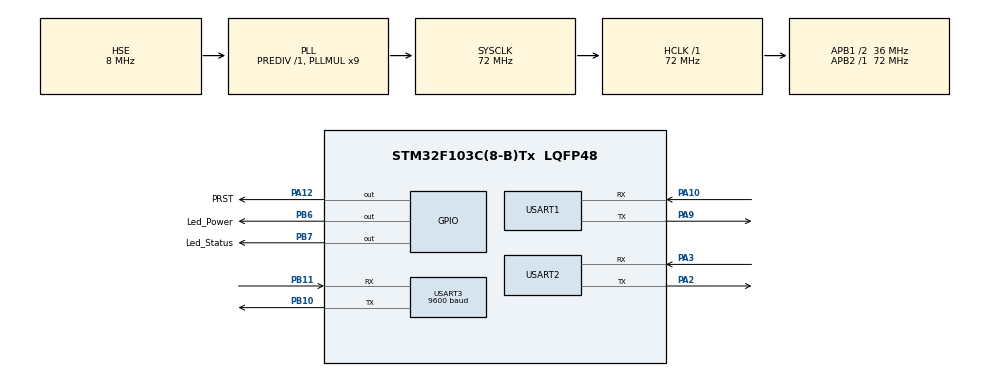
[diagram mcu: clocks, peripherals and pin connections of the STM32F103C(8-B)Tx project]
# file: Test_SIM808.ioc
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Mcu.Family=STM32F1
Mcu.Name=STM32F103C(8-B)Tx
Mcu.Package=LQFP48
NVIC.PriorityGroup=NVIC_PRIORITYGROUP_4
NVIC.USART1_IRQn=true\:0\:0\:false\:false\:true\:true\:true
NVIC.USART2_IRQn=true\:0\:0\:false\:false\:true\:true\:true
NVIC.USART3_IRQn=true\:0\:0\:false\:false\:true\:true\:true
PA10.Mode=Asynchronous
PA10.Signal=USART1_RX
PA12.GPIO_Label=PRST
PA12.Signal=GPIO_Output
PA13.Mode=Serial_Wire
PA13.Signal=SYS_JTMS-SWDIO
PA14.Mode=Serial_Wire
PA14.Signal=SYS_JTCK-SWCLK
PA2.Mode=Asynchronous
PA2.Signal=USART2_TX
PA3.Mode=Asynchronous
PA3.Signal=USART2_RX
PA9.Mode=Asynchronous
PA9.Signal=USART1_TX
PB10.Mode=Asynchronous
PB10.Signal=USART3_TX
PB11.Mode=Asynchronous
PB11.Signal=USART3_RX
PB6.GPIO_Label=Led_Power
PB6.Signal=GPIO_Output
PB7.GPIO_Label=Led_Status
PB7.Signal=GPIO_Output
PD0-OSC_IN.Mode=HSE-External-Oscillator
PD0-OSC_IN.Signal=RCC_OSC_IN
PD1-OSC_OUT.Mode=HSE-External-Oscillator
PD1-OSC_OUT.Signal=RCC_OSC_OUT
ProjectManager.HeapSize=0x200
ProjectManager.StackSize=0x400
ProjectManager.TargetToolchain=MDK-ARM V5.32
RCC.AHBFreq_Value=72000000
RCC.APB1CLKDivider=RCC_HCLK_DIV2
RCC.APB1Freq_Value=36000000
RCC.APB1TimFreq_Value=72000000
RCC.APB2Freq_Value=72000000
RCC.APB2TimFreq_Value=72000000
RCC.HCLKFreq_Value=72000000
RCC.PLLMUL=RCC_PLL_MUL9
RCC.PLLSourceVirtual=RCC_PLLSOURCE_HSE
RCC.SYSCLKFreq_VALUE=72000000
RCC.SYSCLKSource=RCC_SYSCLKSOURCE_PLLCLK
RCC.USBFreq_Value=72000000
USART1.VirtualMode=VM_ASYNC
USART2.VirtualMode=VM_ASYNC
USART3.BaudRate=9600
USART3.VirtualMode=VM_ASYNC
board=custom

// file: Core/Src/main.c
/* USER CODE BEGIN Header */
/**
  ******************************************************************************
  * @file           : main.c
  * @brief          : Main program body
  ******************************************************************************
  * @attention
  *
  * <h2><center>&copy; Copyright (c) 2022 STMicroelectronics.
  * All rights reserved.</center></h2>
  *
  * This software component is licensed by ST under BSD 3-Clause license,
  * the "License"; You may not use this file except in compliance with the
  * License. You may obtain a copy of the License at:
  *                        opensource.org/licenses/BSD-3-Clause
  *
  ******************************************************************************
  */
/* USER CODE END Header */
#include "main.h"

/* USER CODE BEGIN Includes */
#include "stdio.h"
#include "string.h"
/* USER CODE END Includes */

/* USER CODE BEGIN PTD */

uint8_t flag_sim_IT=0;
uint8_t buffer[32];
uint8_t rev3_IT;
uint8_t _index=0;

uint8_t cmd_sim808_check[10] = "AT"; // check connect MCU with module sim808
uint8_t cmd_sim808_echo[15] = "ATE0"; // turn off echo mode
uint8_t cmd_sim808_sset[15] = "AT&W"; // save setting
uint8_t cmd_sim808_SQualityCheck[15] = "AT+CSQ";
uint8_t cmd_sim808_SimInfor[15] = "AT+CCID";
uint8_t cmd_sim808_GetModuleName[4] = "ATI";
uint8_t cmd_sim808_CrcNetwork[15] = "AT+7COSP?";
uint8_t cmd_sim808_CheckSIM[15] = "AT+CPIN?";

uint8_t cmd_sim808_inforcall[15] = "AT+CLIP=1"; // show information call
uint8_t cmd_sim808_call[20] = "ATD0369502269;"; // call from number phone
uint8_t cmd_sim808_ATH[15] = "ATH"; // end call

uint8_t cmd_sim808_offgps[15] = "AT+CGNSPWR=0"; // turn off gps mode
uint8_t cmd_sim808_ongps[15] = "AT+CGNSPWR=1"; // turn on gps mode
uint8_t cmd_sim808_getgps[20] = "ART+CGNSINF=32"; // show location
uint8_t cmd_sim808_gps[15] = "AT+CGNSURC=1"; // set time =1s show location

uint8_t cmd_sim808_bt_of[15] = "AT+BTPOWE7R=0"; // turn off bluetooth mode
uint8_t cmd_sim808_bt_on[15] = "AT+BTPOWER=1"; // turn on bluetooth mode
uint8_t cmd_sim808_btpair[15] = "AT+BTPAIR=1,1"; // agree connecting with smartphone
uint8_t cmd_sim808_btacpt[15] = "AT+BTACPT=1"; // charge profine mode
uint8_t cmd_sim808_btgetprof[15] = "AT+BTGETPROF=1"; // check profine mode
uint8_t cmd_sim808_btconn[15] = "AT+BTCONN=1,4"; // connect profine SSP mode
//AT+BTSPPSEND=16 transmit data to smartphone

/* USER CODE END PTD */

UART_HandleTypeDef huart1;
UART_HandleTypeDef huart2;
UART_HandleTypeDef huart3;

void SystemClock_Config(void);
static void MX_GPIO_Init(void);
static void MX_USART3_UART_Init(void);
static void MX_USART1_UART_Init(void);
static void MX_USART2_UART_Init(void);
/* USER CODE BEGIN PFP */
static void send_sim808(uint8_t *string);
static void send_modbus(uint8_t *string);
static void waitRespone(void);
/* USER CODE END PFP */

/* USER CODE BEGIN 0 */
const char apn[]  = "v-internet"; // Change this to your Provider details
const char server[] = "dhikon.atwebpages.com/"; // Change this to your domain
const int  port = 80;
const char resource[] = "/insert.php";
const uint32_t timeOut =10000;
char content[80];
char ATcommand[80];
uint8_t _buffer[100] = {0};
uint8_t ATisOK = 0;
uint8_t CGREGisOK = 0;
uint8_t CIPOPENisOK = 0;
uint8_t NETOPENisOK = 0;
uint32_t previousTick;
uint16_t distance;

void SIMTransmit(char *cmd)
{
  memset(buffer,0,sizeof(buffer));
  HAL_UART_Transmit(&huart1,(uint8_t *)cmd,strlen(cmd),1000);
  HAL_UART_Receive (&huart1, buffer, 100, 1000);
}

void httpPost(void)
{
  ATisOK = 0;
  CGREGisOK = 0;
  NETOPENisOK = 0;
  CIPOPENisOK = 0;
  // Check for OK response for AT
  previousTick =  HAL_GetTick();
  while(!ATisOK && previousTick  + timeOut >  HAL_GetTick())
  {
    SIMTransmit("AT\r\n");
    HAL_Delay(1000);
    if(strstr((char *)buffer,"OK"))
    {
      ATisOK = 1;
    }
  }

  // Check for network registration.
  if(ATisOK)
  {
    previousTick =  HAL_GetTick();
    while(!CGREGisOK  && previousTick  + timeOut >  HAL_GetTick())
    {
      SIMTransmit("AT+CGREG?\r\n");
      if(strstr((char *)buffer,"+CGREG: 0,1"))
      {
        CGREGisOK = 1;
      }
    }
  }

  // Check for Internet IP Connection
  if(ATisOK && CGREGisOK)
  {
    previousTick =  HAL_GetTick();
    while(!NETOPENisOK  && previousTick  + timeOut >  HAL_GetTick())
    {
      SIMTransmit("AT+NETCLOSE\r\n");
      sprintf(ATcommand,"AT+CGDCONT=1,\"IP\",\"%s\",\"0.0.0.0\",0,0\r\n",apn);
      SIMTransmit(ATcommand);
      SIMTransmit("AT+CIPMODE=0\r\n");
      SIMTransmit("AT+CIPSENDMODE=0\r\n");
      SIMTransmit("AT+CIPCCFG=10,0,0,0,1,0,75000\r\n");
      SIMTransmit("AT+CIPTIMEOUT=75000,15000,15000\r\n");
      SIMTransmit("AT+NETOPEN\r\n");
      SIMTransmit("AT+NETOPEN?\r\n");
      if(strstr((char *)buffer,"+NETOPEN: 1"))
      {
        NETOPENisOK = 1;
      }
    }
  }

  // Check for TCP connection
  if(ATisOK && CGREGisOK && NETOPENisOK)
  {
    SIMTransmit("AT+IPADDR\r\n");
    previousTick =  HAL_GetTick();
    while(!CIPOPENisOK  && previousTick  + timeOut >  HAL_GetTick())
    {
      SIMTransmit("AT+CIPCLOSE=0\r\n");
      sprintf(ATcommand,"AT+CIPOPEN=0,\"TCP\",\"%s\",%d\r\n",server,port);
      SIMTransmit(ATcommand);
      HAL_Delay(1000);
      if(strstr((char *)buffer,"+CIPOPEN: 0,0"))
      {
        CIPOPENisOK = 1;
      }
    }
  }

  // If all Connection success (Wiring, Registration and TCP/IP)
  if(ATisOK && CGREGisOK && CIPOPENisOK && NETOPENisOK)
  {
    // Perform http request
    sprintf(ATcommand,"AT+CIPSEND=0,%d\r\n",strlen(resource)+16);
    SIMTransmit(ATcommand);
    if(strstr((char *)buffer,">"))
    {
      sprintf(ATcommand,"POST %s HTTP/1.1\r\n",resource);
      SIMTransmit(ATcommand);
    }

    sprintf(ATcommand,"AT+CIPSEND=0,%d\r\n",strlen(server)+8);
    SIMTransmit(ATcommand);
    if(strstr((char *)buffer,">"))
    {
      sprintf(ATcommand,"Host: %s\r\n",server);
      SIMTransmit(ATcommand);
    }

    SIMTransmit("AT+CIPSEND=0,19\r\n");
    if(strstr((char *)buffer,">"))
    {
      SIMTransmit("Connection: close\r\n");
    }

    SIMTransmit("AT+CIPSEND=0,49\r\n");
    if(strstr((char *)buffer,">"))
    {
      SIMTransmit("Content-Type: application/x-www-form-urlencoded\r\n");
    }

    SIMTransmit("AT+CIPSEND=0,16\r\n");
    if(strstr((char *)buffer,">"))
    {
      SIMTransmit("Content-Length: ");
    }

    char sLength[5];
    snprintf(sLength, 5,"%d",strlen(content));
    sprintf(ATcommand,"AT+CIPSEND=0,%d\r\n",strlen(sLength));
    SIMTransmit(ATcommand);
    if(strstr((char *)buffer,">"))
    {
      SIMTransmit(sLength);
    }

    SIMTransmit("AT+CIPSEND=0,2\r\n");
    if(strstr((char *)buffer,">"))
    {
      SIMTransmit("\r\n");
    }

    SIMTransmit("AT+CIPSEND=0,2\r\n");
    if(strstr((char *)buffer,">"))
    {
      SIMTransmit("\r\n");
    }

    sprintf(ATcommand,"AT+CIPSEND=0,%d\r\n",strlen(content));
    SIMTransmit(ATcommand);
    if(strstr((char *)buffer,">"))
    {
      SIMTransmit(content);
    }

    SIMTransmit("AT+CIPSEND=0,2\r\n");
    if(strstr((char *)buffer,">"))
    {
      SIMTransmit("\r\n");
    }
    HAL_Delay(2000);
    // Close connections
    SIMTransmit("AT+CIPCLOSE=0\r\n");
    SIMTransmit("AT++NETCLOSE\r\n");
  }
}
/* USER CODE END 0 */

int main(void)
{

  /* MCU Configuration--------------------------------------------------------*/

  /* Reset of all peripherals, Initializes the Flash interface and the Systick. */
  HAL_Init();

  /* Configure the system clock */
  SystemClock_Config();

  /* Initialize all configured peripherals */
  MX_GPIO_Init();
  MX_USART3_UART_Init();
  MX_USART1_UART_Init();
  MX_USART2_UART_Init();
  /* USER CODE BEGIN 2 */
  HAL_UART_Receive_IT(&huart3,&rev3_IT,1);
  /*****************************/
  /* RESET MODULE SIM 808 */
//  HAL_GPIO_WritePin(PRST_GPIO_Port,PRST_Pin,1);
//  HAL_Delay(2000);
//  HAL_GPIO_WritePin(PRST_GPIO_Port,PRST_Pin,0);
//  HAL_Delay(2000);
  /*****************************/
  send_modbus(cmd_sim808_check);
  HAL_Delay(1000);
  /*****************************/
  /* CHECK CMD*/
  send_sim808(cmd_sim808_check);

  /*****************************/
  /* USER CODE END 2 */

  /* Infinite loop */
  /* USER CODE BEGIN WHILE */
  while (1)
  {
//	  waitRespone();
	  distance ++;
	  sprintf(content,"key=a@4K3&distance=%d",distance);
      httpPost();
	  HAL_GPIO_TogglePin(Led_Status_GPIO_Port,Led_Status_Pin);
	  HAL_Delay(2000);
    /* USER CODE END WHILE */

  }
}

void SystemClock_Config(void)
{
  RCC_OscInitTypeDef RCC_OscInitStruct = {0};
  RCC_ClkInitTypeDef RCC_ClkInitStruct = {0};

  /** Initializes the RCC Oscillators according to the specified parameters
  * in the RCC_OscInitTypeDef structure.
  */
  RCC_OscInitStruct.OscillatorType = RCC_OSCILLATORTYPE_HSE;
  RCC_OscInitStruct.HSEState = RCC_HSE_ON;
  RCC_OscInitStruct.HSEPredivValue = RCC_HSE_PREDIV_DIV1;
  RCC_OscInitStruct.HSIState = RCC_HSI_ON;
  RCC_OscInitStruct.PLL.PLLState = RCC_PLL_ON;
  RCC_OscInitStruct.PLL.PLLSource = RCC_PLLSOURCE_HSE;
  RCC_OscInitStruct.PLL.PLLMUL = RCC_PLL_MUL9;
  if (HAL_RCC_OscConfig(&RCC_OscInitStruct) != HAL_OK)
  {
    Error_Handler();
  }
  /** Initializes the CPU, AHB and APB buses clocks
  */
  RCC_ClkInitStruct.ClockType = RCC_CLOCKTYPE_HCLK|RCC_CLOCKTYPE_SYSCLK
                              |RCC_CLOCKTYPE_PCLK1|RCC_CLOCKTYPE_PCLK2;
  RCC_ClkInitStruct.SYSCLKSource = RCC_SYSCLKSOURCE_PLLCLK;
  RCC_ClkInitStruct.AHBCLKDivider = RCC_SYSCLK_DIV1;
  RCC_ClkInitStruct.APB1CLKDivider = RCC_HCLK_DIV2;
  RCC_ClkInitStruct.APB2CLKDivider = RCC_HCLK_DIV1;

  if (HAL_RCC_ClockConfig(&RCC_ClkInitStruct, FLASH_LATENCY_2) != HAL_OK)
  {
    Error_Handler();
  }
}

static void MX_USART1_UART_Init(void)
{

  huart1.Instance = USART1;
  huart1.Init.BaudRate = 19200;
  huart1.Init.WordLength = UART_WORDLENGTH_8B;
  huart1.Init.StopBits = UART_STOPBITS_1;
  huart1.Init.Parity = UART_PARITY_NONE;
  huart1.Init.Mode = UART_MODE_TX_RX;
  huart1.Init.HwFlowCtl = UART_HWCONTROL_NONE;
  huart1.Init.OverSampling = UART_OVERSAMPLING_16;
  if (HAL_UART_Init(&huart1) != HAL_OK)
  {
    Error_Handler();
  }

}

static void MX_USART2_UART_Init(void)
{

  huart2.Instance = USART2;
  huart2.Init.BaudRate = 115200;
  huart2.Init.WordLength = UART_WORDLENGTH_8B;
  huart2.Init.StopBits = UART_STOPBITS_1;
  huart2.Init.Parity = UART_PARITY_NONE;
  huart2.Init.Mode = UART_MODE_TX_RX;
  huart2.Init.HwFlowCtl = UART_HWCONTROL_NONE;
  huart2.Init.OverSampling = UART_OVERSAMPLING_16;
  if (HAL_UART_Init(&huart2) != HAL_OK)
  {
    Error_Handler();
  }

}

static void MX_USART3_UART_Init(void)
{

  huart3.Instance = USART3;
  huart3.Init.BaudRate = 9600;
  huart3.Init.WordLength = UART_WORDLENGTH_8B;
  huart3.Init.StopBits = UART_STOPBITS_1;
  huart3.Init.Parity = UART_PARITY_NONE;
  huart3.Init.Mode = UART_MODE_TX_RX;
  huart3.Init.HwFlowCtl = UART_HWCONTROL_NONE;
  huart3.Init.OverSampling = UART_OVERSAMPLING_16;
  if (HAL_UART_Init(&huart3) != HAL_OK)
  {
    Error_Handler();
  }

}

static void MX_GPIO_Init(void)
{
  GPIO_InitTypeDef GPIO_InitStruct = {0};

  /* GPIO Ports Clock Enable */
  __HAL_RCC_GPIOD_CLK_ENABLE();
  __HAL_RCC_GPIOA_CLK_ENABLE();
  __HAL_RCC_GPIOB_CLK_ENABLE();

  /*Configure GPIO pin Output Level */
  HAL_GPIO_WritePin(PRST_GPIO_Port, PRST_Pin, GPIO_PIN_RESET);

  /*Configure GPIO pin Output Level */
  HAL_GPIO_WritePin(GPIOB, Led_Status_Pin|Led_Power_Pin, GPIO_PIN_RESET);

  /*Configure GPIO pin : PRST_Pin */
  GPIO_InitStruct.Pin = PRST_Pin;
  GPIO_InitStruct.Mode = GPIO_MODE_OUTPUT_PP;
  GPIO_InitStruct.Pull = GPIO_NOPULL;
  GPIO_InitStruct.Speed = GPIO_SPEED_FREQ_LOW;
  HAL_GPIO_Init(PRST_GPIO_Port, &GPIO_InitStruct);

  /*Configure GPIO pins : Led_Status_Pin Led_Power_Pin */
  GPIO_InitStruct.Pin = Led_Status_Pin|Led_Power_Pin;
  GPIO_InitStruct.Mode = GPIO_MODE_OUTPUT_PP;
  GPIO_InitStruct.Pull = GPIO_NOPULL;
  GPIO_InitStruct.Speed = GPIO_SPEED_FREQ_LOW;
  HAL_GPIO_Init(GPIOB, &GPIO_InitStruct);

}

/* USER CODE BEGIN 4 */
static void send_sim808(uint8_t *string)
{
	char buff[32];
	sprintf((char*)&buff[0],"%s\r\n",string);
	uint8_t len = strlen((char*)&buff[0]);
	HAL_UART_Transmit(&huart3,(uint8_t*)&buff[0],len,100);
	for(int i = 0; i <= 32; i++)
	{buff[i] = NULL;}
}
static void send_modbus(uint8_t *string)
{
	char buff1[32];
	sprintf((char*)&buff1[0],"%s\r\n",string);
	uint8_t len = strlen((char*)&buff1[0]);
	HAL_UART_Transmit(&huart1,(uint8_t*)&buff1[0],len,100);
	for(int i = 0; i <= 32; i++)
	{buff1[i] = NULL;}
}
static void waitRespone(void)
{
	switch(flag_sim_IT)
	{
		case  0:
			break;
		case 1:
			HAL_UART_Receive(&huart1,&rev3_IT,sizeof(rev3_IT),100);
			for(int i =0;i<=32;i++)
			{
				buffer[i] = NULL;
			}
			flag_sim_IT = 0;
			break;
		default:
			break;
	}
}
/* USER CODE END 4 */

void Error_Handler(void)
{
  __disable_irq();
  while (1)
  {
  }
}

/************************ (C) COPYRIGHT STMicroelectronics *****END OF FILE****/
